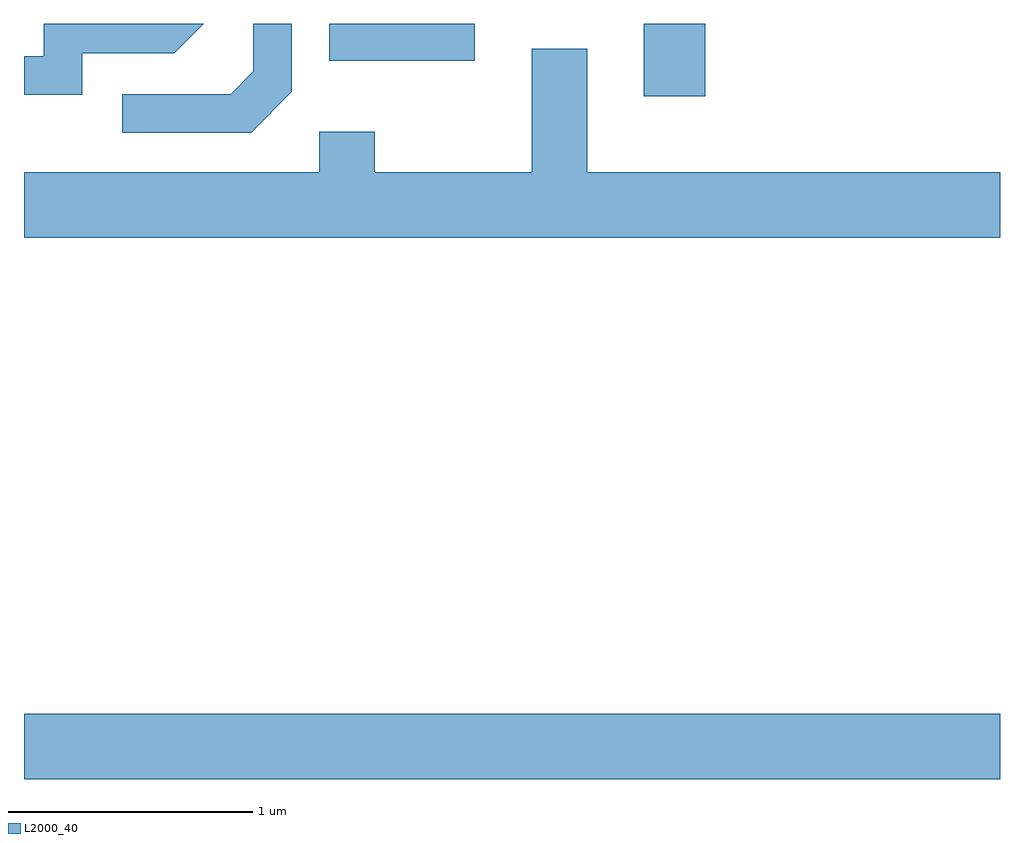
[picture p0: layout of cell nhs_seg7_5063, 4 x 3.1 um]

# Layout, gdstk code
import gdstk
lib = gdstk.Library(unit=1e-6, precision=1e-09)
def R(c, l, rs):  # rectangles x0, y0, x1, y1
    for r in rs: c.add(gdstk.rectangle(r[:2], r[2:], *l))
def P(c, l, *ps):  # polygons
    for p in ps: c.add(gdstk.Polygon(p, *l))
L2000_40 = (2000, 40)

nhs_seg7_5063 = lib.new_cell('nhs_seg7_5063')
R(nhs_seg7_5063, L2000_40, [(339.611,1763.156,343.611,1763.424), (342.151,1765.956,342.404,1766.252), (340.861,1766.101,341.459,1766.252)])
P(nhs_seg7_5063, L2000_40, [(339.849,1766.131),(340.227,1766.131),(340.347,1766.252),(339.691,1766.252),(339.691,1766.119),(339.611,1766.119),(339.611,1765.961),(339.849,1765.961)],
  [(340.709,1765.974),(340.709,1766.252),(340.551,1766.252),(340.551,1766.057),(340.459,1765.964),(340.013,1765.964),(340.013,1765.806),(340.542,1765.806)],
  [(343.611,1765.644),(341.919,1765.644),(341.919,1766.149),(341.691,1766.149),(341.691,1765.644),(341.049,1765.644),(341.049,1765.809),(340.821,1765.809),(340.821,1765.644),(339.611,1765.644),(339.611,1765.376),(343.611,1765.376)])

lib.write_gds('nhs_seg7_5063.gds')
